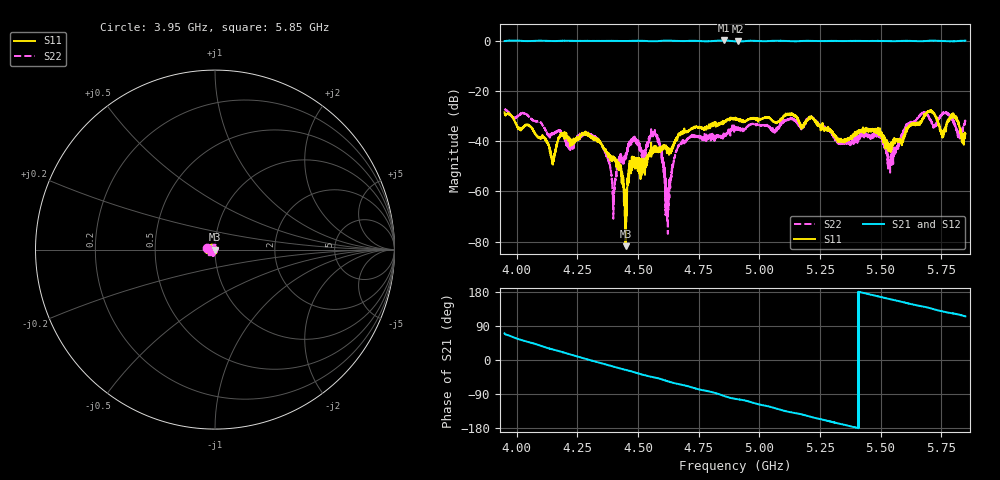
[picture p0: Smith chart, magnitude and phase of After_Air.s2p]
# GHZ S RI R 50.000000000000
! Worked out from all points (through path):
!   4501 points, 3.95 GHz to 5.85 GHz, reference 50 ohm
!   highest |S21| = 0.10 dB at 4.853 GHz (marker M1); lowest = -0.3 dB at 4.911 GHz (marker M2)
!   group delay of S21, straight-line fit = 451 ps
!   lowest |S11| = -81.8 dB at 4.449 GHz (marker M3), VSWR 1.00, Z = 50 + j0.00785 ohm
!   |S11| at or under -10 dB: start of sweep to end of sweep
!   |S22| runs from -76.9 to -27.1 dB; largest |S21 - S12| = 0.053
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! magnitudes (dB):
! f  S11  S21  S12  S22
! 3.95 GHz  -28.5  -0.1  -0.2  -27.1
! 4.148 GHz  -48.4  -0.1  -0.1  -37.0
! 4.184 GHz  -37.1  0.0  -0.1  -36.5
! 4.267 GHz  -37.6  -0.1  -0.1  -38.0
! 4.348 GHz  -41.1  -0.1  -0.1  -40.9
! 4.399 GHz  -46.6  -0.1  -0.1  -65.1
! 4.449 GHz  -81.8  -0.1  -0.1  -46.1
! 4.474 GHz  -46.3  -0.1  0.0  -39.9
! 4.584 GHz  -43.6  -0.2  -0.2  -39.5
! 4.622 GHz  -43.5  0.0  0.0  -60.7
! 4.674 GHz  -36.9  -0.2  -0.1  -41.3
! 4.853 GHz  -32.5  0.1  0.1  -36.9
! 4.9 GHz  -31.1  -0.2  -0.2  -34.8
! 4.911 GHz  -31.4  -0.3  -0.2  -35.3
! 5.217 GHz  -30.6  -0.1  -0.1  -30.8
! 5.333 GHz  -39.8  -0.1  -0.1  -41.0
! 5.496 GHz  -36.7  -0.1  0.0  -37.3
! 5.534 GHz  -41.1  -0.1  -0.1  -48.9
! 5.673 GHz  -31.0  -0.2  -0.2  -28.9
! 5.756 GHz  -38.6  -0.1  -0.1  -28.9
! 5.804 GHz  -30.1  -0.2  -0.3  -32.7
! 5.85 GHz  -37.1  0.0  0.0  -32.1
